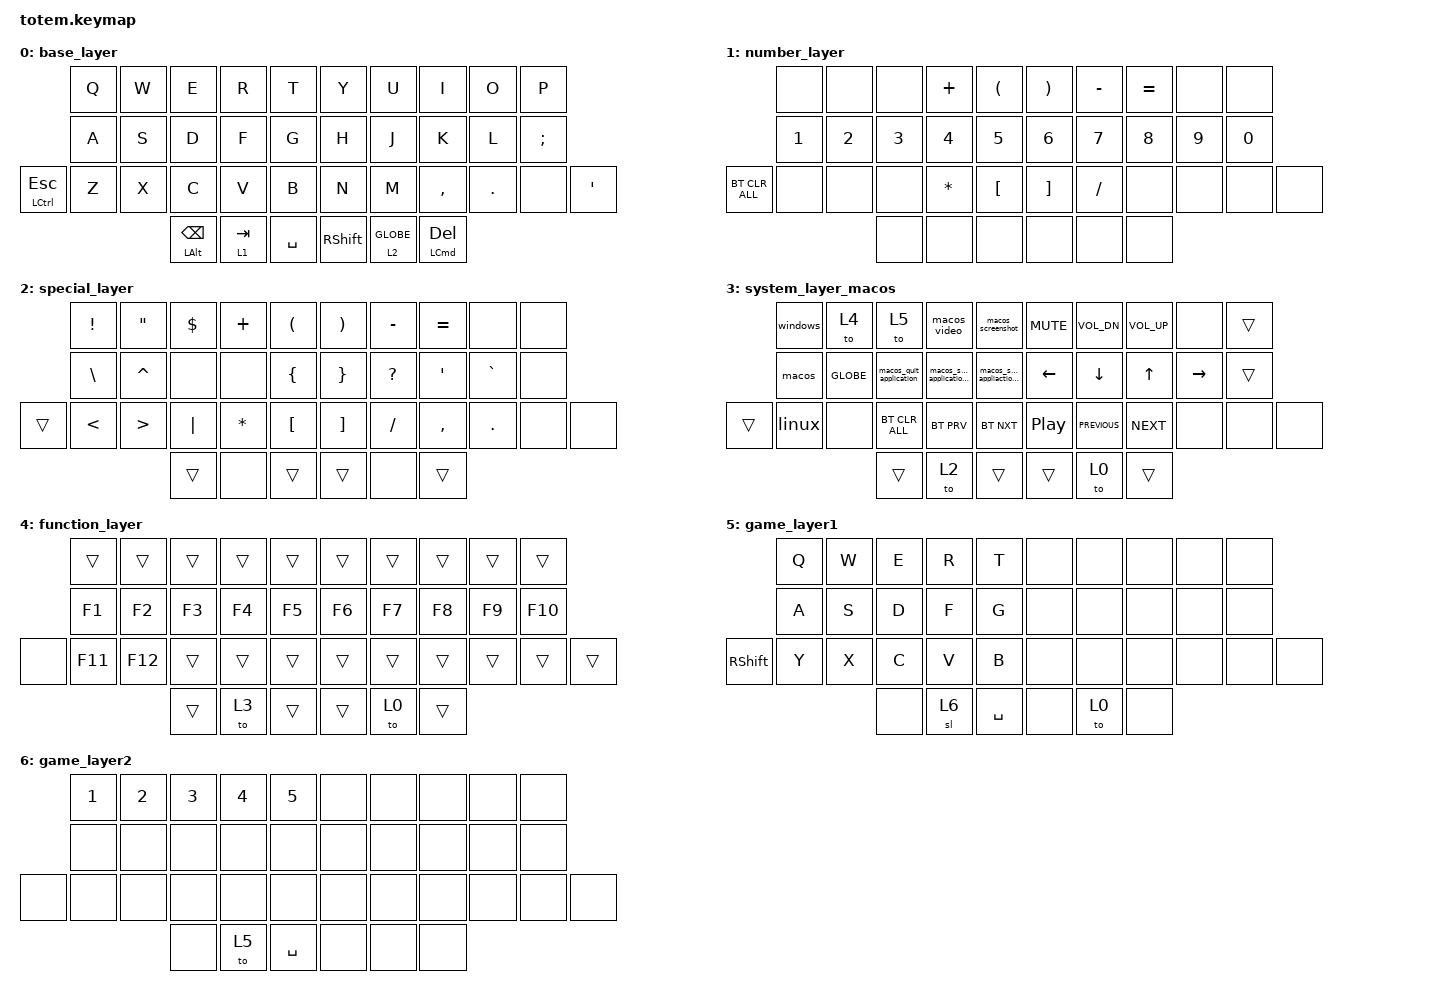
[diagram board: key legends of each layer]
#include <behaviors.dtsi>
#include <dt-bindings/zmk/bt.h>
#include <dt-bindings/zmk/keys.h>

/ {
    combos {
        compatible = "zmk,combos";

        Enter-Right {
            bindings = <&kp ENTER>;
            key-positions = <16 17 18>;
            layers = <0 3 4 4>;
        };

        hyphen {
            bindings = <&kp MINUS>;
            key-positions = <19 31>;
        };

        tilde {
            bindings = <&kp TILDE>;
            key-positions = <0 20>;
        };

        system-layer {
            bindings = <&mo 3>;
            key-positions = <33 36>;
        };

        Enter-Left {
            bindings = <&kp ENTER>;
            key-positions = <12 13 11>;
            layers = <0 2 1 3>;
        };
    };

    macros {
        macos_screenshot: macos_screenshot {
            compatible = "zmk,behavior-macro";
            #binding-cells = <0>;
            bindings = <&kp LS(LG(NUMBER_4))>;
            label = "MACOS_SCREENSHOT";
        };

        macos_video: macos_video {
            compatible = "zmk,behavior-macro";
            #binding-cells = <0>;
            bindings = <&kp LS(LG(N5))>;
            label = "MACOS_VIDEO";
        };

        macos_quit_application: macos_quit_application {
            compatible = "zmk,behavior-macro";
            #binding-cells = <0>;
            bindings = <&kp LG(Q)>;
            label = "MACOS_QUIT_APPLICATION";
        };

        macos_switch_appliaction_f: macos_switch_appliaction {
            compatible = "zmk,behavior-macro";
            #binding-cells = <0>;
            bindings = <&kp LG(TAB)>;
            label = "MACOS_SWITCH_APPLIACTION";
        };

        macos_switch_application_b: macos_switch_application_b {
            compatible = "zmk,behavior-macro";
            #binding-cells = <0>;
            bindings = <&kp LG(LS(TAB))>;
            label = "MACOS_SWITCH_APPLICATION_B";
        };

        macos: macos {
            compatible = "zmk,behavior-macro";
            #binding-cells = <0>;
            bindings = <&none>;
            label = "MACOS";
        };

        windows: windows {
            compatible = "zmk,behavior-macro";
            #binding-cells = <0>;
            bindings = <&none>;
            label = "WINDOWS";
        };

        linux: linux {
            compatible = "zmk,behavior-macro";
            #binding-cells = <0>;
            bindings = <&none>;
            label = "LINUX";
        };
    };

    behaviors {
        mouse: mouse {
            compatible = "zmk,behavior-mouse-key-press";
            label = "MOUSE";
            #binding-cells = <1>;
        };

        layer_hold_layer_tap: layer_hold_layer_tap {
            compatible = "zmk,behavior-hold-tap";
            label = "LAYER_HOLD_LAYER_TAP";
            bindings = <&mo>, <&to>;

            #binding-cells = <2>;
            tapping-term-ms = <180>;
            flavor = "balanced";
        };
    };

    keymap {
        compatible = "zmk,keymap";

        base_layer {
            bindings = <
                         &kp Q  &kp W  &kp E                   &kp R      &kp T        &kp Y      &kp U        &kp I                 &kp O    &kp P
                         &kp A  &kp S  &kp D                   &kp F      &kp G        &kp H      &kp J        &kp K                 &kp L    &kp SEMI
&mt LEFT_CONTROL ESCAPE  &kp Z  &kp X  &kp C                   &kp V      &kp B        &kp N      &kp M        &kp COMMA             &kp DOT  &none     &kp APOS
                                       &mt LEFT_ALT BACKSPACE  &lt 1 TAB  &kp SPACE    &kp RSHFT  &lt 2 GLOBE  &mt LEFT_COMMAND DEL
            >;
        };

        number_layer {
            bindings = <
                &none   &none   &none   &kp PLUS   &kp LEFT_PARENTHESIS    &kp RIGHT_PARENTHESIS  &kp MINUS  &kp EQUAL  &none   &none
                &kp N1  &kp N2  &kp N3  &kp N4     &kp N5                  &kp N6                 &kp N7     &kp N8     &kp N9  &kp N0
&bt BT_CLR_ALL  &none   &none   &none   &kp ASTRK  &kp LEFT_BRACKET        &kp RIGHT_BRACKET      &kp SLASH  &none      &none   &none   &none
                                &none   &none      &none                   &none                  &none      &none
            >;
        };

        special_layer {
            bindings = <
        &kp EXCL       &kp DOUBLE_QUOTES  &kp DOLLAR  &kp PLUS      &kp LEFT_PARENTHESIS    &kp RIGHT_PARENTHESIS  &kp MINUS     &kp EQUAL         &none       &none
        &kp BACKSLASH  &kp CARET          &none       &none         &kp LEFT_BRACE          &kp RIGHT_BRACE        &kp QUESTION  &kp SINGLE_QUOTE  &kp GRAVE   &none
&trans  &kp LESS_THAN  &kp GREATER_THAN   &kp PIPE    &kp ASTERISK  &kp LEFT_BRACKET        &kp RIGHT_BRACKET      &kp SLASH     &kp COMMA         &kp PERIOD  &none  &none
                                          &trans      &none         &trans                  &trans                 &none         &trans
            >;
        };

        system_layer_macos {
            bindings = <
        &windows  &to 4      &to 5                    &macos_video                 &macos_screenshot              &kp K_MUTE        &kp C_VOL_DN    &kp C_VOLUME_UP  &none      &trans
        &macos    &kp GLOBE  &macos_quit_application  &macos_switch_application_b  &macos_switch_appliaction_f    &kp LEFT_ARROW    &kp DOWN        &kp UP           &kp RIGHT  &trans
&trans  &linux    &none      &bt BT_CLR_ALL           &bt BT_PRV                   &bt BT_NXT                     &kp C_PLAY_PAUSE  &kp C_PREVIOUS  &kp C_NEXT       &none      &none   &none
                             &trans                   &to 2                        &trans                         &trans            &to 0           &trans
            >;
        };

        function_layer {
            bindings = <
       &trans   &trans   &trans  &trans  &trans    &trans  &trans  &trans  &trans  &trans
       &kp F1   &kp F2   &kp F3  &kp F4  &kp F5    &kp F6  &kp F7  &kp F8  &kp F9  &kp F10
&none  &kp F11  &kp F12  &trans  &trans  &trans    &trans  &trans  &trans  &trans  &trans   &trans
                         &trans  &to 3   &trans    &trans  &to 0   &trans
            >;
        };

        game_layer1 {
            bindings = <
           &kp Q  &kp W  &kp E  &kp R  &kp T        &none  &none  &none  &none  &none
           &kp A  &kp S  &kp D  &kp F  &kp G        &none  &none  &none  &none  &none
&kp RSHFT  &kp Y  &kp X  &kp C  &kp V  &kp B        &none  &none  &none  &none  &none  &none
                         &none  &sl 6  &kp SPACE    &none  &to 0  &none
            >;
        };

        game_layer2 {
            bindings = <
       &kp N1  &kp N2  &kp N3  &kp N4  &kp N5       &none  &none  &none  &none  &none
       &none   &none   &none   &none   &none        &none  &none  &none  &none  &none
&none  &none   &none   &none   &none   &none        &none  &none  &none  &none  &none  &none
                       &none   &to 5   &kp SPACE    &none  &none  &none
            >;
        };
    };
};
